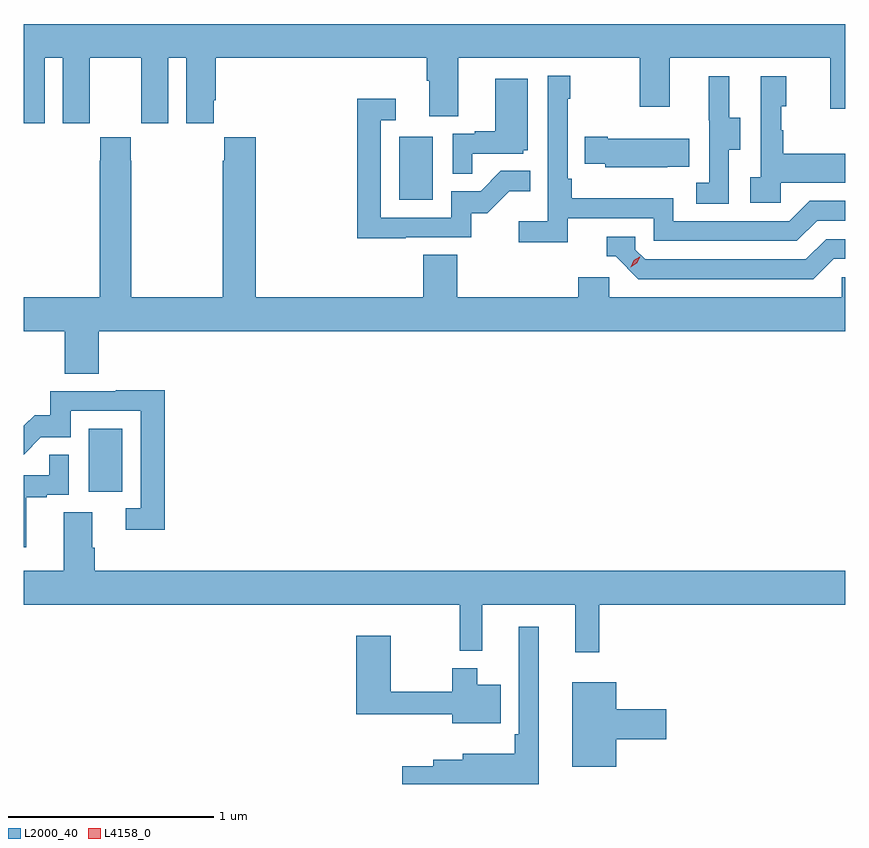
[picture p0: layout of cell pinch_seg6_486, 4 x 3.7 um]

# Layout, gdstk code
import gdstk
lib = gdstk.Library(unit=1e-6, precision=1e-09)
def R(c, l, rs):  # rectangles x0, y0, x1, y1
    for r in rs: c.add(gdstk.rectangle(r[:2], r[2:], *l))
def P(c, l, *ps):  # polygons
    for p in ps: c.add(gdstk.Polygon(p, *l))
L2000_40 = (2000, 40)
L4158_0 = (4158, 0)

pinch_seg6_486 = lib.new_cell('pinch_seg6_486')
R(pinch_seg6_486, L2000_40, [(842.462,918.582,842.626,918.889), (843.974,920.004,844.138,920.311)])
P(pinch_seg6_486, L2000_40, [(842.248,920.696),(842.336,920.696),(842.336,920.376),(842.466,920.376),(842.466,920.488),(842.467,920.488),(842.467,920.696),(842.717,920.696),(842.717,920.488),(842.718,920.488),(842.718,920.376),(842.848,920.376),(842.848,920.696),(842.936,920.696),(842.936,920.376),(843.07,920.376),(843.07,920.488),(843.08,920.488),(843.08,920.696),(844.109,920.696),(844.109,920.584),(844.121,920.584),(844.121,920.41),(844.261,920.41),(844.261,920.696),(845.146,920.696),(845.146,920.457),(845.293,920.457),(845.293,920.696),(846.074,920.696),(846.074,920.448),(846.146,920.448),(846.146,920.86),(842.146,920.86),(842.146,920.376),(842.248,920.376)],
  [(844.796,919.914),(845.214,919.914),(845.214,919.803),(845.911,919.803),(846.01,919.902),(846.146,919.902),(846.146,919.998),(845.973,919.998),(845.874,919.899),(845.31,919.899),(845.31,920.011),(844.814,920.011),(844.814,920.107),(844.794,920.107),(844.794,920.495),(844.807,920.495),(844.807,920.608),(844.698,920.608),(844.698,919.9),(844.557,919.9),(844.557,919.798),(844.796,919.798)],
  [(845.832,920.087),(846.146,920.087),(846.146,920.227),(845.845,920.227),(845.845,920.342),(845.835,920.342),(845.835,920.46),(845.86,920.46),(845.86,920.605),(845.736,920.605),(845.736,920.114),(845.685,920.114),(845.685,919.989),(845.832,919.989)],
  [(845.58,920.248),(845.635,920.248),(845.635,920.403),(845.581,920.403),(845.581,920.605),(845.483,920.605),(845.483,920.391),(845.484,920.391),(845.484,920.087),(845.421,920.087),(845.421,919.984),(845.58,919.984)],
  [(844.331,920.229),(844.578,920.229),(844.578,920.244),(844.6,920.244),(844.6,920.593),(844.442,920.593),(844.442,920.338),(844.343,920.338),(844.343,920.325),(844.236,920.325),(844.236,920.131),(844.331,920.131)],
  [(844.007,919.821),(844.326,919.821),(844.326,919.938),(844.402,919.938),(844.509,920.045),(844.613,920.045),(844.613,920.144),(844.469,920.144),(844.371,920.046),(844.227,920.046),(844.227,919.917),(843.885,919.917),(843.885,920.391),(843.958,920.391),(843.958,920.497),(843.769,920.497),(843.769,919.816),(844.007,919.816)],
  [(845.279,920.165),(845.387,920.165),(845.387,920.302),(844.99,920.302),(844.99,920.31),(844.879,920.31),(844.879,920.18),(844.977,920.18),(844.977,920.162),(845.279,920.162)],
  [(842.51,919.364),(846.146,919.364),(846.146,919.626),(846.129,919.626),(846.129,919.528),(844.998,919.528),(844.998,919.626),(844.847,919.626),(844.847,919.528),(844.256,919.528),(844.256,919.736),(844.091,919.736),(844.091,919.528),(843.275,919.528),(843.275,920.308),(843.121,920.308),(843.121,920.195),(843.115,920.195),(843.115,919.528),(842.67,919.528),(842.67,920.195),(842.667,920.195),(842.667,920.308),(842.517,920.308),(842.517,920.195),(842.515,920.195),(842.515,919.528),(842.146,919.528),(842.146,919.364),(842.345,919.364),(842.345,919.156),(842.51,919.156)],
  [(846.091,919.716),(846.146,919.716),(846.146,919.812),(846.054,919.812),(845.955,919.713),(845.172,919.713),(845.124,919.761),(845.124,919.824),(844.985,919.824),(844.985,919.728),(845.028,919.728),(845.139,919.617),(845.992,919.617)],
  [(842.831,919.076),(842.593,919.076),(842.593,919.071),(842.275,919.071),(842.275,918.954),(842.198,918.954),(842.146,918.902),(842.146,918.763),(842.229,918.846),(842.373,918.846),(842.373,918.975),(842.715,918.975),(842.715,918.501),(842.643,918.501),(842.643,918.396),(842.831,918.396)],
  [(842.158,918.555),(842.258,918.555),(842.258,918.567),(842.364,918.567),(842.364,918.761),(842.269,918.761),(842.269,918.663),(842.146,918.663),(842.146,918.312),(842.158,918.312)],
  [(844.949,918.032),(846.146,918.032),(846.146,918.196),(842.492,918.196),(842.492,918.308),(842.479,918.308),(842.479,918.482),(842.339,918.482),(842.339,918.196),(842.146,918.196),(842.146,918.032),(844.269,918.032),(844.269,917.807),(844.379,917.807),(844.379,918.032),(844.832,918.032),(844.832,917.799),(844.949,917.799)],
  [(844.654,917.923),(844.557,917.923),(844.557,917.401),(844.537,917.401),(844.537,917.305),(844.283,917.305),(844.283,917.275),(844.139,917.275),(844.139,917.245),(843.99,917.245),(843.99,917.158),(844.654,917.158)],
  [(844.468,917.641),(844.354,917.641),(844.354,917.722),(844.232,917.722),(844.232,917.608),(843.934,917.608),(843.934,917.881),(843.764,917.881),(843.764,917.497),(844.232,917.497),(844.232,917.453),(844.468,917.453)],
  [(845.032,917.375),(845.275,917.375),(845.275,917.522),(845.032,917.522),(845.032,917.653),(844.817,917.653),(844.817,917.243),(845.032,917.243)])
P(pinch_seg6_486, L4158_0, [(845.101,919.675),(845.101,919.675),(845.117,919.708),(845.147,919.727),(845.148,919.727),(845.148,919.727),(845.132,919.694),(845.101,919.675)])

lib.write_gds('pinch_seg6_486.gds')
